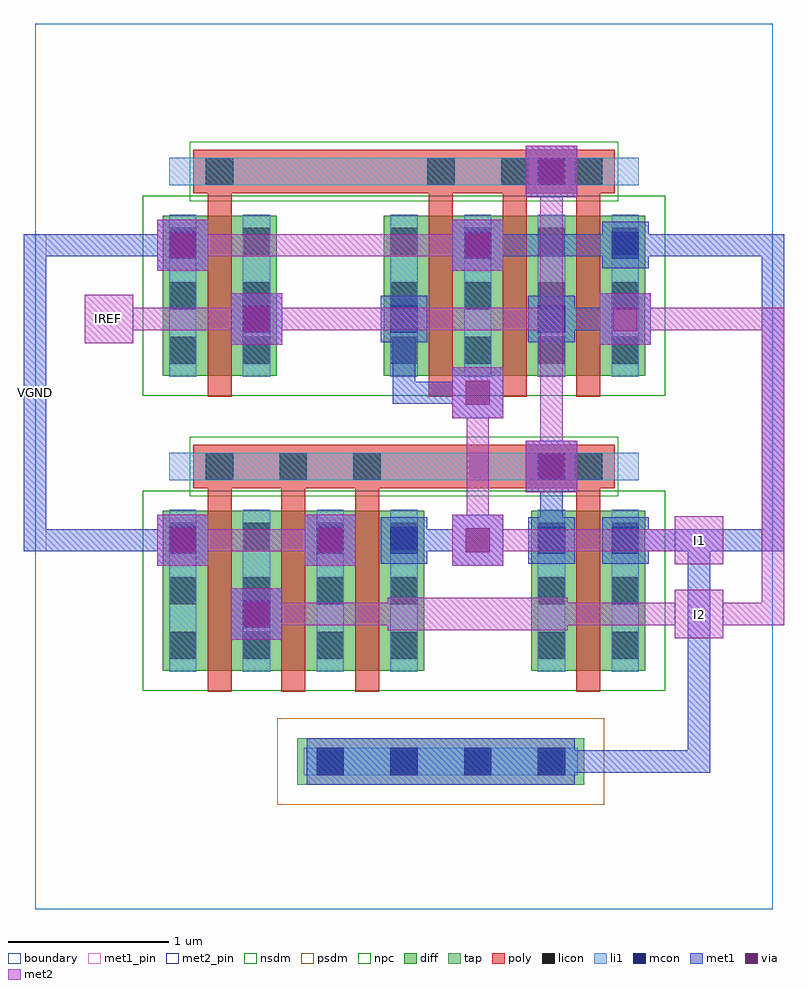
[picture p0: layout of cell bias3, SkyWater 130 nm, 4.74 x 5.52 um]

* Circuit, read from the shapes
.subckt bias3 I1 I2 IREF VGND
XM1 I2 IREF VGND VGND sky130_fd_pr__nfet_01v8 w=1 l=0.15 m=4
XM2 IREF IREF VGND VGND sky130_fd_pr__nfet_01v8 w=1 l=0.15 m=2
XM3 I1 IREF VGND VGND sky130_fd_pr__nfet_01v8 w=1 l=0.15 m=2
.ends

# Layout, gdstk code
import gdstk
lib = gdstk.Library(unit=1e-6, precision=1e-09)
def R(c, l, rs):  # rectangles x0, y0, x1, y1
    for r in rs: c.add(gdstk.rectangle(r[:2], r[2:], *l))
def A(c, l, x, y, w, h, nx, ny, dx, dy):  # array of equal rectangles
    R(c, l, [(x+i*dx, y+j*dy, x+i*dx+w, y+j*dy+h) for i in range(nx) for j in range(ny)])
diff = (65, 20)
tap = (65, 44)
poly = (66, 20)
licon = (66, 44)
li1 = (67, 20)
mcon = (67, 44)
met1_pin = (68, 16)
met1 = (68, 20)
via = (68, 44)
met2_pin = (69, 16)
met2 = (69, 20)
nsdm = (93, 44)
psdm = (94, 20)
npc = (95, 20)
boundary = (235, 4)

bias3 = lib.new_cell('bias3')
R(bias3, diff, [(0.795,1.485,2.425,2.485), (3.095,1.485,3.805,2.485), (0.795,3.325,1.505,4.325), (2.175,3.325,3.805,4.325)])
R(bias3, tap, [(1.635,0.775,3.425,1.065)])
A(bias3, poly, 1.075, 1.355, 0.15, 1.405, 3, 1, 0.46, 0)
A(bias3, poly, 2.455, 3.195, 0.15, 1.405, 3, 1, 0.46, 0)
R(bias3, poly, [(3.375,1.355,3.525,2.76), (0.985,2.625,3.615,2.895), (1.075,3.195,1.225,4.6), (0.985,4.465,3.615,4.735)])
A(bias3, licon, 1.755, 0.835, 0.17, 0.17, 4, 1, 0.46, 0)
A(bias3, licon, 0.835, 1.56, 0.17, 0.17, 4, 3, 0.46, 0.34)
A(bias3, licon, 3.135, 1.56, 0.17, 0.17, 1, 3, 0, 0.34)
A(bias3, licon, 3.595, 1.56, 0.17, 0.17, 1, 3, 0, 0.34)
A(bias3, licon, 1.065, 2.675, 0.17, 0.17, 3, 1, 0.46, 0)
A(bias3, licon, 0.835, 3.4, 0.17, 0.17, 1, 3, 0, 0.34)
A(bias3, licon, 1.295, 3.4, 0.17, 0.17, 1, 3, 0, 0.34)
A(bias3, licon, 2.215, 3.4, 0.17, 0.17, 4, 3, 0.46, 0.34)
A(bias3, licon, 2.445, 4.515, 0.17, 0.17, 3, 1, 0.46, 0)
R(bias3, licon, [(3.365,2.675,3.535,2.845), (1.065,4.515,1.235,4.685)])
A(bias3, li1, 0.835, 1.48, 0.17, 1.01, 4, 1, 0.46, 0)
A(bias3, li1, 2.215, 3.32, 0.17, 1.01, 4, 1, 0.46, 0)
R(bias3, li1, [(1.675,0.835,3.385,1.005), (3.135,1.48,3.305,2.49), (3.595,1.48,3.765,2.49), (0.835,2.675,3.765,2.845), (0.835,3.32,1.005,4.33), (1.295,3.32,1.465,4.33), (0.835,4.515,3.765,4.685)])
A(bias3, mcon, 1.755, 0.835, 0.17, 0.17, 4, 1, 0.46, 0)
A(bias3, mcon, 1.295, 3.595, 0.17, 0.17, 3, 1, 0.92, 0)
R(bias3, mcon, [(1.295,1.755,1.465,1.925), (0.835,2.215,1.005,2.385), (1.755,2.215,1.925,2.385), (2.215,2.215,2.385,2.385), (3.135,2.215,3.305,2.385), (3.595,2.215,3.765,2.385), (3.135,2.675,3.305,2.845), (0.835,4.055,1.005,4.225), (2.675,4.055,2.845,4.225), (3.595,4.055,3.765,4.225), (3.135,4.515,3.305,4.685)])
R(bias3, met1_pin, [(-0.07,2.23,0.07,4.21)])
A(bias3, met1, 0.76, 2.14, 0.32, 0.32, 3, 1, 0.92, 0)
A(bias3, met1, 1.235, 3.535, 0.29, 0.29, 3, 1, 0.92, 0)
R(bias3, met1, [(1.695,0.775,3.365,1.065), (3.15,0.85,4.21,0.99), (3.15,0.85,3.29,0.99), (4.07,0.85,4.21,2.37), (1.22,1.68,1.54,2), (1.235,1.695,1.525,1.985), (0.775,2.155,1.065,2.445), (1.695,2.155,1.985,2.445), (2.155,2.155,2.445,2.445), (3.075,2.155,3.365,2.445), (3.535,2.155,3.825,2.445), (-0.07,2.23,0.99,2.37), (-0.07,2.23,0.07,4.21), (2.23,2.23,2.83,2.37), (3.15,2.23,3.29,2.83), (3.61,2.23,4.67,2.37), (4.53,2.23,4.67,4.21), (3.06,2.6,3.38,2.92), (3.075,2.615,3.365,2.905), (2.6,3.06,2.92,3.38), (2.23,3.15,2.37,3.75), (2.23,3.15,2.83,3.29), (1.22,3.52,1.54,3.84), (3.52,3.52,3.84,3.84), (3.15,3.61,3.75,3.75), (0.76,3.98,1.08,4.3), (2.6,3.98,2.92,4.3), (0.775,3.995,1.065,4.285), (2.615,3.995,2.905,4.285), (3.535,3.995,3.825,4.285), (-0.07,4.07,0.99,4.21), (2.69,4.07,3.75,4.21), (3.61,4.07,4.67,4.21), (3.06,4.44,3.38,4.76), (3.075,4.455,3.365,4.745)])
A(bias3, via, 0.845, 2.225, 0.15, 0.15, 3, 1, 0.92, 0)
R(bias3, via, [(1.305,1.765,1.455,1.915), (3.145,2.685,3.295,2.835), (2.685,3.145,2.835,3.295), (1.305,3.605,1.455,3.755), (3.605,3.605,3.755,3.755), (0.845,4.065,0.995,4.215), (2.685,4.065,2.835,4.215), (3.145,4.525,3.295,4.675)])
R(bias3, met2_pin, [(3.99,1.69,4.29,1.99), (3.99,2.15,4.29,2.45), (0.31,3.53,0.61,3.83)])
A(bias3, met2, 0.76, 2.14, 0.32, 0.32, 3, 1, 0.92, 0)
R(bias3, met2, [(1.22,1.68,1.54,2), (3.99,1.69,4.29,1.99), (2.2,1.74,3.32,1.94), (1.31,1.77,2.37,1.91), (3.15,1.77,4.21,1.91), (4.07,1.77,4.21,1.91), (4.07,1.77,4.67,1.91), (4.53,1.77,4.67,3.75), (3.99,2.15,4.29,2.45), (0.85,2.23,1.91,2.37), (2.69,2.23,4.21,2.37), (2.69,2.23,2.83,3.29), (4.07,2.23,4.21,2.37), (3.06,2.6,3.38,2.92), (3.15,2.69,3.29,4.67), (2.6,3.06,2.92,3.38), (1.22,3.52,1.54,3.84), (3.52,3.52,3.84,3.84), (0.31,3.53,0.61,3.83), (0.39,3.61,0.53,3.75), (0.39,3.61,1.45,3.75), (1.31,3.61,3.29,3.75), (3.61,3.61,4.67,3.75), (0.76,3.98,1.08,4.3), (2.6,3.98,2.92,4.3), (0.85,4.07,2.83,4.21), (3.06,4.44,3.38,4.76)])
R(bias3, nsdm, [(0.67,1.36,3.93,2.61), (0.67,3.2,3.93,4.45)])
R(bias3, psdm, [(1.51,0.65,3.55,1.19)])
R(bias3, npc, [(0.965,2.575,3.635,2.945), (0.965,4.415,3.635,4.785)])
R(bias3, boundary, [(0,0,4.6,5.52)])
bias3.add(gdstk.Label('VGND', (0,3.22), layer=68, texttype=5))
bias3.add(gdstk.Label('IREF', (0.46,3.68), layer=69, texttype=5))
bias3.add(gdstk.Label('I1', (4.14,2.3), layer=69, texttype=5))
bias3.add(gdstk.Label('I2', (4.14,1.84), layer=69, texttype=5))
bias3.add(gdstk.Label('VGND', (0,3.22), layer=68, texttype=16))
bias3.add(gdstk.Label('IREF', (0.46,3.68), layer=69, texttype=16))
bias3.add(gdstk.Label('I1', (4.14,2.3), layer=69, texttype=16))
bias3.add(gdstk.Label('I2', (4.14,1.84), layer=69, texttype=16))

lib.write_gds('bias3.gds')
